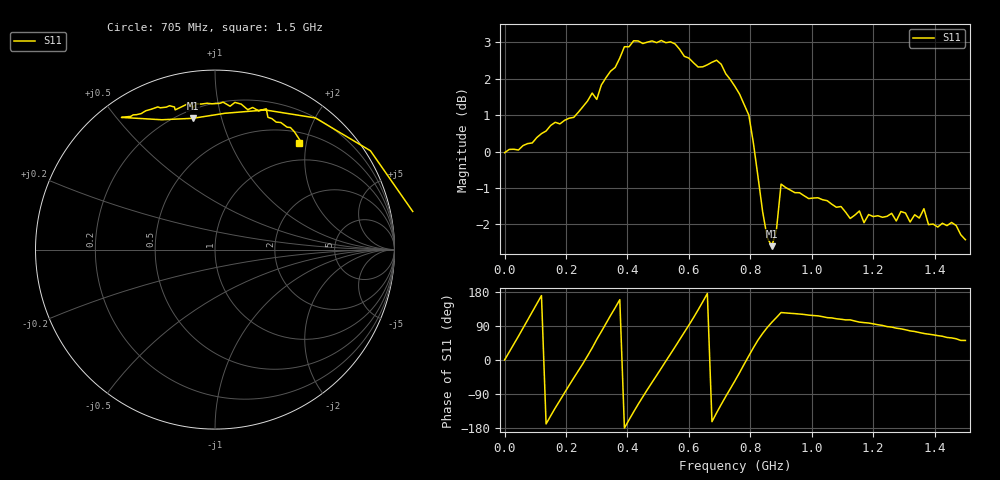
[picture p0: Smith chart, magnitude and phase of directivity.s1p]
! Created with skrf 1.8.0 (http://scikit-rf.org).
# Hz S RI R 50.0
!freq ReS11 ImS11
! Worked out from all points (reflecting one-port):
!   101 points, 50 kHz to 1.5 GHz, reference 50 ohm
!   lowest |S11| = -2.6 dB at 870 MHz (marker M1), VSWR 6.75, Z = 12.5 + j40.7 ohm
!   phase of S11 starts at 0 deg and turns +1131 deg over the sweep
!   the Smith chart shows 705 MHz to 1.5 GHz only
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50000  0.9963 0.00141
6.0048e7  0.1033 1.014
9.0047e7  -0.6193 0.8199
1.20046e8  -1.042 0.1852
1.50045e8  -0.9141 -0.586
1.950435e8  0.064 -1.101
2.40042e8  0.9951 -0.5396
2.70041e8  1.152 0.2226
3.0004e8  0.687 0.9579
3.30039e8  -0.138 1.255
3.750375e8  -1.256 0.4754
4.20036e8  -1.038 -0.9665
4.650345e8  0.3005 -1.38
4.950335e8  1.072 -0.9153
5.250325e8  1.408 -0.0649
5.70031e8  0.8116 1.117
6.150295e8  -0.4932 1.228
6.60028e8  -1.311 0.104
7.050265e8  -0.6084 -1.168
7.50025e8  0.711 -1.001
7.950235e8  1.102 0.2125
8.250225e8  0.5592 0.7337
8.70021e8  -0.1236 0.7314
9.0002e8  -0.5213 0.7365
9.450185e8  -0.4701 0.7418
1.125012e9  -0.222 0.7785
1.320006e9  0.1826 0.7794
1.5e9  0.4705 0.5932
